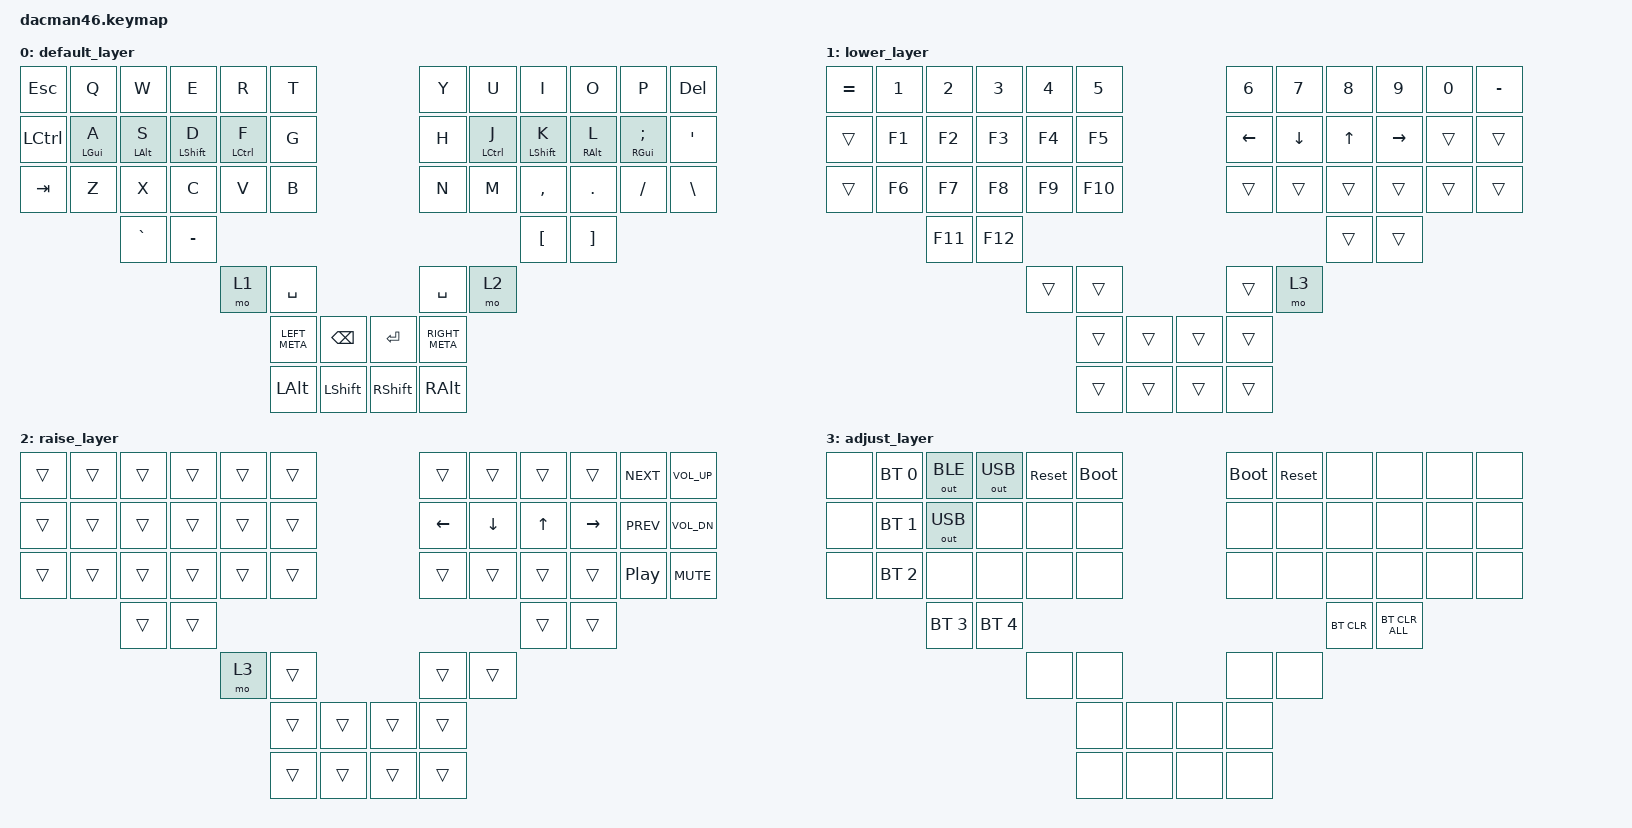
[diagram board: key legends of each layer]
/*
 * Copyright (c) 2020 The ZMK Contributors
 *
 * SPDX-License-Identifier: MIT
 */

#include <behaviors.dtsi>
#include <dt-bindings/zmk/bt.h>
#include <dt-bindings/zmk/keys.h>
#include <dt-bindings/zmk/outputs.h>

#define LWR 1
#define RSE 2
#define ADJ 3

/ {
    behaviors {
        hold_tap: hold_tap {
            compatible = "zmk,behavior-hold-tap";
            label = "HOLD_TAP";
            bindings = <&kp>, <&kp>;

            #binding-cells = <2>;
            tapping-term-ms = <200>;
            flavor = "balanced";
        };
    };

    keymap {
        compatible = "zmk,keymap";

        default_layer {
            bindings = <
&kp ESC    &kp Q             &kp W             &kp E                   &kp R              &kp T                                           &kp Y           &kp U              &kp I               &kp O              &kp P                &kp DELETE
&kp LCTRL  &hold_tap LGUI A  &hold_tap LALT S  &hold_tap LEFT_SHIFT D  &hold_tap LCTRL F  &kp G                                           &kp H           &hold_tap LCTRL J  &hold_tap LSHIFT K  &hold_tap RALT L   &hold_tap RGUI SEMI  &kp SQT
&kp TAB    &kp Z             &kp X             &kp C                   &kp V              &kp B                                           &kp N           &kp M              &kp COMMA           &kp DOT            &kp FSLH             &kp BSLH
                             &kp GRAVE         &kp MINUS                                                                                                                     &kp LEFT_BRACKET    &kp RIGHT_BRACKET
                                                                       &mo 1              &kp SPACE                                       &kp SPACE       &mo 2
                                                                                          &kp LEFT_META  &kp BACKSPACE   &kp ENTER        &kp RIGHT_META
                                                                                          &kp LEFT_ALT   &kp LEFT_SHIFT  &kp RIGHT_SHIFT  &kp RIGHT_ALT
            >;
        };

        lower_layer {
            bindings = <
&kp EQUAL  &kp N1  &kp N2   &kp N3   &kp N4  &kp N5                   &kp N6          &kp N7          &kp N8        &kp N9           &kp N0  &kp MINUS
&trans     &kp F1  &kp F2   &kp F3   &kp F4  &kp F5                   &kp LEFT_ARROW  &kp DOWN_ARROW  &kp UP_ARROW  &kp RIGHT_ARROW  &trans  &trans
&trans     &kp F6  &kp F7   &kp F8   &kp F9  &kp F10                  &trans          &trans          &trans        &trans           &trans  &trans
                   &kp F11  &kp F12                                                                   &trans        &trans
                                     &trans  &trans                   &trans          &mo 3
                                             &trans   &trans  &trans  &trans
                                             &trans   &trans  &trans  &trans
            >;
        };

        raise_layer {
            bindings = <
&trans  &trans  &trans  &trans  &trans  &trans                  &trans    &trans    &trans  &trans     &kp C_NEXT  &kp K_VOL_UP
&trans  &trans  &trans  &trans  &trans  &trans                  &kp LEFT  &kp DOWN  &kp UP  &kp RIGHT  &kp C_PREV  &kp K_VOL_DN
&trans  &trans  &trans  &trans  &trans  &trans                  &trans    &trans    &trans  &trans     &kp C_PP    &kp K_MUTE
                &trans  &trans                                                      &trans  &trans
                                &mo 3   &trans                  &trans    &trans
                                        &trans  &trans  &trans  &trans
                                        &trans  &trans  &trans  &trans
            >;
        };

        adjust_layer {
            bindings = <
&none  &bt BT_SEL 0  &out OUT_BLE  &out OUT_USB  &sys_reset  &bootloader                &bootloader  &sys_reset  &none       &none           &none  &none
&none  &bt BT_SEL 1  &out OUT_USB  &none         &none       &none                      &none        &none       &none       &none           &none  &none
&none  &bt BT_SEL 2  &none         &none         &none       &none                      &none        &none       &none       &none           &none  &none
                     &bt BT_SEL 3  &bt BT_SEL 4                                                                  &bt BT_CLR  &bt BT_CLR_ALL
                                                 &none       &none                      &none        &none
                                                             &none        &none  &none  &none
                                                             &none        &none  &none  &none
            >;
        };
    };
};
